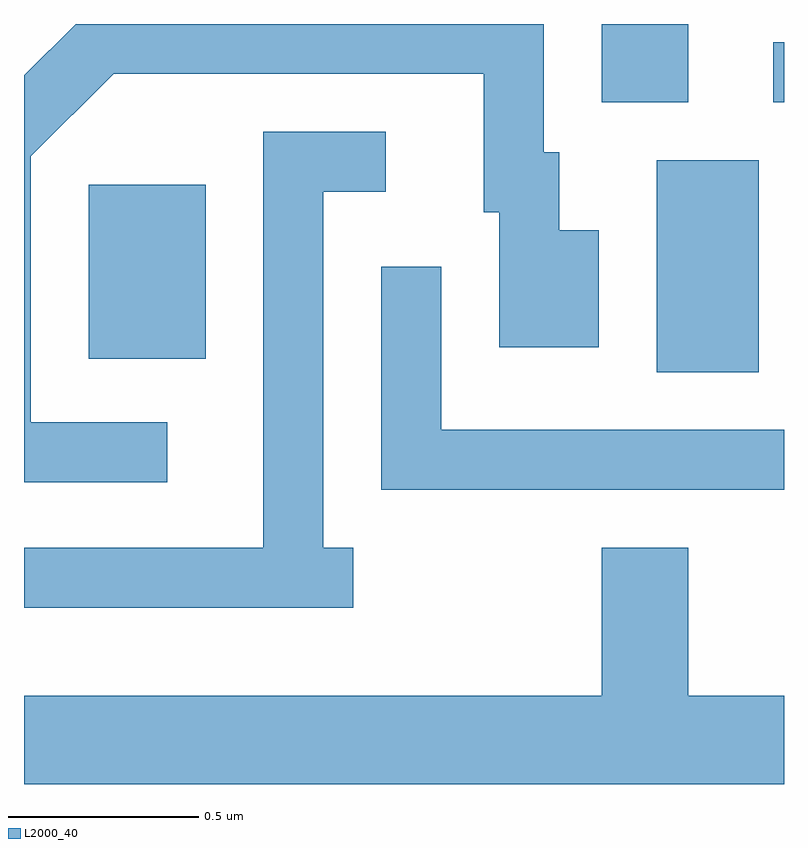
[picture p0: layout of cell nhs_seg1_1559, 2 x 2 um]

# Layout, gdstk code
import gdstk
lib = gdstk.Library(unit=1e-6, precision=1e-09)
def R(c, l, rs):  # rectangles x0, y0, x1, y1
    for r in rs: c.add(gdstk.rectangle(r[:2], r[2:], *l))
def P(c, l, *ps):  # polygons
    for p in ps: c.add(gdstk.Polygon(p, *l))
L2000_40 = (2000, 40)

nhs_seg1_1559 = lib.new_cell('nhs_seg1_1559')
R(nhs_seg1_1559, L2000_40, [(198.276,911.796,198.544,912.354), (196.781,911.831,197.089,912.289), (198.131,912.506,198.359,912.712), (198.583,912.506,198.611,912.664)])
P(nhs_seg1_1559, L2000_40, [(196.988,911.664),(196.629,911.664),(196.629,912.364),(196.847,912.581),(197.821,912.581),(197.821,912.216),(197.861,912.216),(197.861,911.861),(198.124,911.861),(198.124,912.169),(198.019,912.169),(198.019,912.374),(197.979,912.374),(197.979,912.712),(196.747,912.712),(196.611,912.577),(196.611,911.506),(196.988,911.506)],
  [(197.478,911.334),(197.399,911.334),(197.399,912.271),(197.563,912.271),(197.563,912.429),(197.241,912.429),(197.241,911.334),(196.611,911.334),(196.611,911.176),(197.478,911.176)],
  [(198.611,911.644),(197.709,911.644),(197.709,912.073),(197.551,912.073),(197.551,911.486),(198.611,911.486)],
  [(198.611,910.944),(198.359,910.944),(198.359,911.334),(198.131,911.334),(198.131,910.944),(196.611,910.944),(196.611,910.712),(198.611,910.712)])

lib.write_gds('nhs_seg1_1559.gds')
